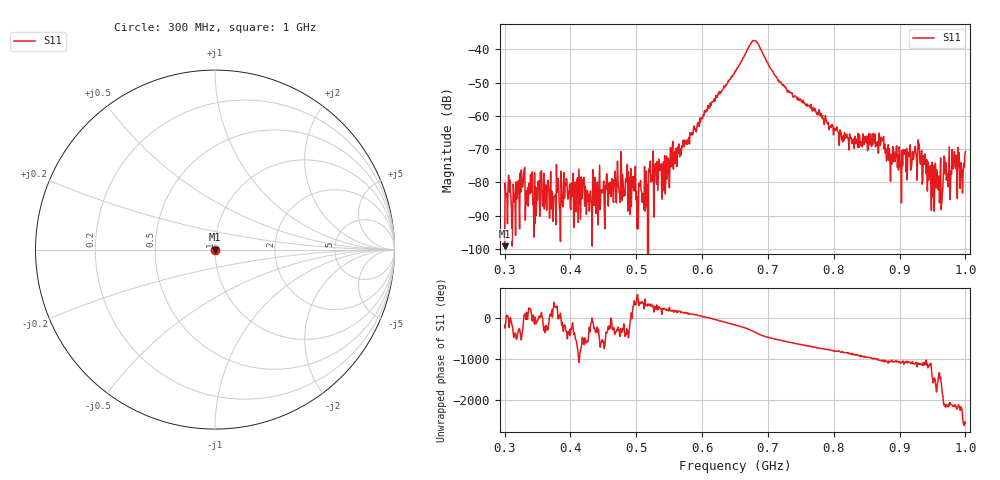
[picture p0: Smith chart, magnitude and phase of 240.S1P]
! C:\Users\rflab\Downloads\q2\240.S1P
! Touchstone 1.1 file saved by VNA.EXE V1.65 (www.ke5fx.com/gpib/readme.htm)
! 11/20/2024 11:14:15 AM
!  Source: HEWLETT PACKARD,8753D,0,6.14
!  Min freq: 3.000000E+008 Hz
!  Max freq: 1.000000E+009 Hz
!  Points: 801
!  Params: S21
# GHZ S MA R 50
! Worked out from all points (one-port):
!   801 points, 300 MHz to 1 GHz, reference 50 ohm
!   lowest |S11| = -99.2 dB at 300 MHz (marker M1), VSWR 1.00, Z = 50 - j0.000151 ohm
!   |S11| at or under -10 dB: start of sweep to end of sweep
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0.3  1.1e-05 -172.1
0.327125  8.5e-05 43.9
0.335  8.4e-05 -23.4
0.3875  5.1e-05 -99.8
0.461875  6.1e-05 12.5
0.475  7.4e-05 -85.8
0.50825  7.2e-05 56.0
0.52225  0.000101 -54.0
0.547625  0.000151 -138.8
0.5625  0.000335 -179.2
0.65  0.004656 -160.7
0.680625  0.01346 15.4
0.713875  0.003668 -158.2
0.7375  0.002036 118.0
0.825  0.000458 -151.9
0.87225  0.000476 36.8
0.883625  0.000214 31.7
0.892375  0.000241 8.5
0.90025  0.000296 13.2
0.9125  0.000288 -11.2
0.9265  0.000108 -110.5
0.944875  0.000134 -85.6
0.962375  0.000232 -11.7
0.972  0.000134 24.3
0.9755  0.000344 10.2
0.9825  0.000218 -13.8
0.99475  0.000153 -70.7
1  0.000293 -51.6
